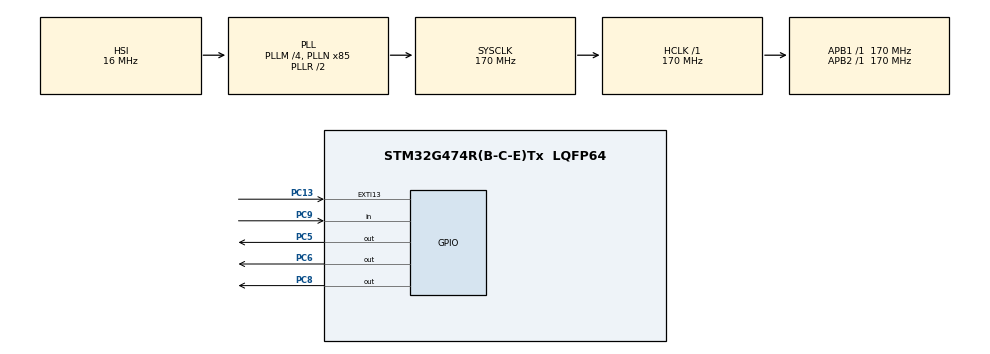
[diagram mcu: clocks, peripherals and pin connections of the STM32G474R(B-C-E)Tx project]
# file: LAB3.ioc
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Mcu.Family=STM32G4
Mcu.Name=STM32G474R(B-C-E)Tx
Mcu.Package=LQFP64
NVIC.EXTI15_10_IRQn=true\:0\:0\:false\:false\:true\:true\:true\:true
NVIC.PriorityGroup=NVIC_PRIORITYGROUP_4
PA13.GPIO_Label=T_SWDIO
PA13.Signal=SYS_JTMS-SWDIO
PA14.GPIO_Label=T_SWCLK
PA14.Signal=SYS_JTCK-SWCLK
PA2.GPIO_Label=LPUART1_TX [STLINKV3E_VCP_RX]
PA2.Signal=LPUART1_TX
PA3.GPIO_Label=LPUART1_RX [STLINKV3E_VCP_TX]
PA3.Signal=LPUART1_RX
PB3.GPIO_Label=T_SWO
PB3.Signal=SYS_JTDO-SWO
PC13.GPIO_ModeDefaultEXTI=GPIO_MODE_IT_RISING
PC13.GPIO_PuPd=GPIO_PULLDOWN
PC13.Signal=GPXTI13
PC14-OSC32_IN.GPIO_Label=RCC_OSC32_IN
PC14-OSC32_IN.Signal=RCC_OSC32_IN
PC15-OSC32_OUT.GPIO_Label=RCC_OSC32_OUT
PC15-OSC32_OUT.Signal=RCC_OSC32_OUT
PC5.Signal=GPIO_Output
PC6.Signal=GPIO_Output
PC8.Signal=GPIO_Output
PC9.GPIO_PuPd=GPIO_PULLUP
PC9.Signal=GPIO_Input
PF0-OSC_IN.GPIO_Label=RCC_OSC_IN
PF0-OSC_IN.Signal=RCC_OSC_IN
PF1-OSC_OUT.GPIO_Label=RCC_OSC_OUT
PF1-OSC_OUT.Signal=RCC_OSC_OUT
ProjectManager.HeapSize=0x200
ProjectManager.StackSize=0x400
ProjectManager.TargetToolchain=STM32CubeIDE
RCC.ADC12Freq_Value=170000000
RCC.ADC345Freq_Value=170000000
RCC.AHBFreq_Value=170000000
RCC.APB1Freq_Value=170000000
RCC.APB1TimFreq_Value=170000000
RCC.APB2Freq_Value=170000000
RCC.APB2TimFreq_Value=170000000
RCC.CortexFreq_Value=170000000
RCC.EXTERNAL_CLOCK_VALUE=12288000
RCC.HCLKFreq_Value=170000000
RCC.HSE_VALUE=24000000
RCC.HSI48_VALUE=48000000
RCC.HSI_VALUE=16000000
RCC.LSE_VALUE=32768
RCC.PLLM=RCC_PLLM_DIV4
RCC.PLLN=85
RCC.RTCClockSelection=RCC_RTCCLKSOURCE_LSE
RCC.SYSCLKFreq_VALUE=170000000
RCC.SYSCLKSource=RCC_SYSCLKSOURCE_PLLCLK
RCC.USBFreq_Value=170000000
RCC.VCOOutputFreq_Value=340000000
VP_SYS_VS_DBSignals.Mode=DisableDeadBatterySignals
board=NUCLEO-G474RE

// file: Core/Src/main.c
/* USER CODE BEGIN Header */
/**
  ******************************************************************************
  * @file           : main.c
  * @brief          : Main program body
  ******************************************************************************
  * @attention
  *
  * Copyright (c) 2026 STMicroelectronics.
  * All rights reserved.
  *
  * This software is licensed under terms that can be found in the LICENSE file
  * in the root directory of this software component.
  * If no LICENSE file comes with this software, it is provided AS-IS.
  *
  ******************************************************************************
  */
/* USER CODE END Header */
#include "main.h"

/* USER CODE BEGIN PV */
#define STATE_NORMAL      0
#define STATE_WARNING     1
#define STATE_EMERGENCY   2

int state = STATE_NORMAL;

uint32_t now = 0;
uint32_t previous = 0;
uint32_t yellow_time = 0;

volatile int STOP = 0;

int MODE_event = 0;

GPIO_PinState mode_previous = GPIO_PIN_SET;
GPIO_PinState mode_current = GPIO_PIN_SET;
/* USER CODE END PV */

void SystemClock_Config(void);
static void MX_GPIO_Init(void);

int main(void){

  /* USER CODE BEGIN 1 */
	HAL_Init();
	SystemClock_Config();
	MX_GPIO_Init();
  /* USER CODE END 1 */

  /* MCU Configuration--------------------------------------------------------*/

  /* Reset of all peripherals, Initializes the Flash interface and the Systick. */
  HAL_Init();

  /* Configure the system clock */
  SystemClock_Config();

  /* Initialize all configured peripherals */
  MX_GPIO_Init();
  /* USER CODE BEGIN 2 */
  	previous = HAL_GetTick();
    HAL_GPIO_WritePin(GPIOC, GPIO_PIN_8, GPIO_PIN_SET);    // Green ON
    HAL_GPIO_WritePin(GPIOC, GPIO_PIN_5, GPIO_PIN_RESET);  // Yellow OFF
    HAL_GPIO_WritePin(GPIOC, GPIO_PIN_6, GPIO_PIN_RESET);  // Red OFF
  /* USER CODE END 2 */

  /* Infinite loop */
  /* USER CODE BEGIN WHILE */
  while (1)
  {
	  MODE_event = 0;

	  mode_current = HAL_GPIO_ReadPin(GPIOC, GPIO_PIN_9);

	  if ((mode_previous == GPIO_PIN_SET) && (mode_current == GPIO_PIN_RESET))
	      {
	          /* =========================
	             Debounce
	             HAL_Delay 僅用於按鍵防彈跳
	             ========================= */
	          HAL_Delay(50);

	          /* 50 ms 後再次確認按鍵仍然被按下 */
	          if (HAL_GPIO_ReadPin(GPIOC, GPIO_PIN_9) == GPIO_PIN_RESET)
	          {
	              MODE_event = 1;
	          }
	      }

	      /* 儲存這一圈的按鍵狀態 給下一圈比較 */
	      mode_previous = mode_current;

	      /* 取得目前系統時間 */
	      now = HAL_GetTick();

	      /* =====================================================
	         Step 2：Write Event / Transition
	         根據：
	         Current State + Event
	         決定 Next State
	         ===================================================== */

	      /* =========================
	         NORMAL + MODE
	         → WARNING
	         ========================= */
	      if ((state == STATE_NORMAL) && (MODE_event == 1))
	      {
	          state = STATE_WARNING;
	          /* 進入新 State 時重新開始計時 */
	          previous = now;
	          /* WARNING 初始輸出 */
	          HAL_GPIO_WritePin(GPIOC, GPIO_PIN_8, GPIO_PIN_RESET); // Green OFF
	          HAL_GPIO_WritePin(GPIOC, GPIO_PIN_5, GPIO_PIN_SET);   // Yellow ON
	          HAL_GPIO_WritePin(GPIOC, GPIO_PIN_6, GPIO_PIN_RESET); // Red OFF
	      }
	      /* =========================
	         WARNING + MODE
	         → NORMAL
	         ========================= */
	      else if ((state == STATE_WARNING) && ((MODE_event == 1) || ((now - yellow_time) >= 5000)))
	      {
	          state = STATE_NORMAL;
	          /* 進入新 State 時重新開始計時 */
	          previous = now;
	          yellow_time = now;
	          /* NORMAL 初始輸出 */
	          HAL_GPIO_WritePin(GPIOC, GPIO_PIN_8, GPIO_PIN_SET);   // Green ON
	          HAL_GPIO_WritePin(GPIOC, GPIO_PIN_5, GPIO_PIN_RESET); // Yellow OFF
	          HAL_GPIO_WritePin(GPIOC, GPIO_PIN_6, GPIO_PIN_RESET); // Red OFF
	      }
	      /* =========================
	         EMERGENCY + MODE
	         → 保持 EMERGENCY
	         MODE 在 Emergency 狀態無效
	         ========================= */
	      else if ((state == STATE_EMERGENCY) && (MODE_event == 1))
	      {
	          state = STATE_EMERGENCY;
	      }

	      /* =========================
	         STOP Event
	         任意 State → EMERGENCY
	         STOP 優先處理
	         ========================= */
	      if (STOP == 1)
	      {
	          state = STATE_EMERGENCY;
	          /* Event 處理完成後清除 Flag */
	          STOP = 0;
	          /* EMERGENCY 輸出 */
	          HAL_GPIO_WritePin(GPIOC, GPIO_PIN_8, GPIO_PIN_RESET); // Green OFF
	          HAL_GPIO_WritePin(GPIOC, GPIO_PIN_5, GPIO_PIN_RESET); // Yellow OFF
	          HAL_GPIO_WritePin(GPIOC, GPIO_PIN_6, GPIO_PIN_SET);   // Red ON
	      }

	      /* =====================================================
	         Step 3：Write Behavior
	         根據目前 State 執行對應行為
	         ===================================================== */

	      /* =========================
	         NORMAL
	         Green LED = 1 Hz Blink
	         每 500 ms Toggle 一次
	         ON 500 ms / OFF 500 ms
	         完整週期 = 1 秒
	         ========================= */
	      if (state == STATE_NORMAL)
	      {
	          if ((now - previous) >= 500)
	          {
	              previous = now;
	              HAL_GPIO_TogglePin(GPIOC, GPIO_PIN_8);
	          }
	      }
	      /* =========================
	         WARNING
	         Yellow LED = 2 Hz Blink
	         每 250 ms Toggle 一次
	         ON 250 ms / OFF 250 ms
	         完整週期 = 0.5 秒
	         ========================= */
	      else if (state == STATE_WARNING)
	      {
	          if ((now - previous) >= 250)
	          {
	        	  previous = now;
	              HAL_GPIO_TogglePin(GPIOC, GPIO_PIN_5);
	          }

	      }
	      /* =========================
	         EMERGENCY
	         Red LED Always ON
	         Green / Yellow OFF
	         ========================= */
	      else if (state == STATE_EMERGENCY)
	      {
	          HAL_GPIO_WritePin(GPIOC, GPIO_PIN_8, GPIO_PIN_RESET); // Green OFF
	          HAL_GPIO_WritePin(GPIOC, GPIO_PIN_5, GPIO_PIN_RESET); // Yellow OFF
	          HAL_GPIO_WritePin(GPIOC, GPIO_PIN_6, GPIO_PIN_SET);   // Red ON
	      }
	 }
    /* USER CODE END WHILE */

}/**
  * @brief System Clock Configuration
  * @retval None
  */
void SystemClock_Config(void)
{
  RCC_OscInitTypeDef RCC_OscInitStruct = {0};
  RCC_ClkInitTypeDef RCC_ClkInitStruct = {0};

  /** Configure the main internal regulator output voltage
  */
  HAL_PWREx_ControlVoltageScaling(PWR_REGULATOR_VOLTAGE_SCALE1_BOOST);

  /** Initializes the RCC Oscillators according to the specified parameters
  * in the RCC_OscInitTypeDef structure.
  */
  RCC_OscInitStruct.OscillatorType = RCC_OSCILLATORTYPE_HSI;
  RCC_OscInitStruct.HSIState = RCC_HSI_ON;
  RCC_OscInitStruct.HSICalibrationValue = RCC_HSICALIBRATION_DEFAULT;
  RCC_OscInitStruct.PLL.PLLState = RCC_PLL_ON;
  RCC_OscInitStruct.PLL.PLLSource = RCC_PLLSOURCE_HSI;
  RCC_OscInitStruct.PLL.PLLM = RCC_PLLM_DIV4;
  RCC_OscInitStruct.PLL.PLLN = 85;
  RCC_OscInitStruct.PLL.PLLP = RCC_PLLP_DIV2;
  RCC_OscInitStruct.PLL.PLLQ = RCC_PLLQ_DIV2;
  RCC_OscInitStruct.PLL.PLLR = RCC_PLLR_DIV2;
  if (HAL_RCC_OscConfig(&RCC_OscInitStruct) != HAL_OK)
  {
    Error_Handler();
  }

  /** Initializes the CPU, AHB and APB buses clocks
  */
  RCC_ClkInitStruct.ClockType = RCC_CLOCKTYPE_HCLK|RCC_CLOCKTYPE_SYSCLK
                              |RCC_CLOCKTYPE_PCLK1|RCC_CLOCKTYPE_PCLK2;
  RCC_ClkInitStruct.SYSCLKSource = RCC_SYSCLKSOURCE_PLLCLK;
  RCC_ClkInitStruct.AHBCLKDivider = RCC_SYSCLK_DIV1;
  RCC_ClkInitStruct.APB1CLKDivider = RCC_HCLK_DIV1;
  RCC_ClkInitStruct.APB2CLKDivider = RCC_HCLK_DIV1;

  if (HAL_RCC_ClockConfig(&RCC_ClkInitStruct, FLASH_LATENCY_4) != HAL_OK)
  {
    Error_Handler();
  }
}

static void MX_GPIO_Init(void)
{
  GPIO_InitTypeDef GPIO_InitStruct = {0};

  /* GPIO Ports Clock Enable */
  __HAL_RCC_GPIOC_CLK_ENABLE();
  __HAL_RCC_GPIOF_CLK_ENABLE();
  __HAL_RCC_GPIOA_CLK_ENABLE();
  __HAL_RCC_GPIOB_CLK_ENABLE();

  /*Configure GPIO pin Output Level */
  HAL_GPIO_WritePin(GPIOC, GPIO_PIN_5|GPIO_PIN_6|GPIO_PIN_8, GPIO_PIN_RESET);

  /*Configure GPIO pin : PC13 */
  GPIO_InitStruct.Pin = GPIO_PIN_13;
  GPIO_InitStruct.Mode = GPIO_MODE_IT_RISING;
  GPIO_InitStruct.Pull = GPIO_PULLDOWN;
  HAL_GPIO_Init(GPIOC, &GPIO_InitStruct);

  /*Configure GPIO pins : LPUART1_TX_Pin LPUART1_RX_Pin */
  GPIO_InitStruct.Pin = LPUART1_TX_Pin|LPUART1_RX_Pin;
  GPIO_InitStruct.Mode = GPIO_MODE_AF_PP;
  GPIO_InitStruct.Pull = GPIO_NOPULL;
  GPIO_InitStruct.Speed = GPIO_SPEED_FREQ_LOW;
  GPIO_InitStruct.Alternate = GPIO_AF12_LPUART1;
  HAL_GPIO_Init(GPIOA, &GPIO_InitStruct);

  /*Configure GPIO pins : PC5 PC6 PC8 */
  GPIO_InitStruct.Pin = GPIO_PIN_5|GPIO_PIN_6|GPIO_PIN_8;
  GPIO_InitStruct.Mode = GPIO_MODE_OUTPUT_PP;
  GPIO_InitStruct.Pull = GPIO_NOPULL;
  GPIO_InitStruct.Speed = GPIO_SPEED_FREQ_LOW;
  HAL_GPIO_Init(GPIOC, &GPIO_InitStruct);

  /*Configure GPIO pin : PC9 */
  GPIO_InitStruct.Pin = GPIO_PIN_9;
  GPIO_InitStruct.Mode = GPIO_MODE_INPUT;
  GPIO_InitStruct.Pull = GPIO_PULLUP;
  HAL_GPIO_Init(GPIOC, &GPIO_InitStruct);

  /* EXTI interrupt init*/
  HAL_NVIC_SetPriority(EXTI15_10_IRQn, 0, 0);
  HAL_NVIC_EnableIRQ(EXTI15_10_IRQn);

}

/* USER CODE BEGIN 4 */
/* =========================================================
   STOP Button EXTI Callback
   Interrupt 發生時：不直接執行 Emergency Behavior
   只設定 STOP Event Flag
   之後由 main loop 處理 State Transition
   ========================================================= */
void HAL_GPIO_EXTI_Callback(uint16_t GPIO_Pin)
{
  /* 確認 Interrupt 來源為 PC13 */
  if (GPIO_Pin == GPIO_PIN_13)
  {
    STOP = 1;
  }
}
/* USER CODE END 4 */

void Error_Handler(void)
{
  __disable_irq();
  while (1)
  {
  }
}
